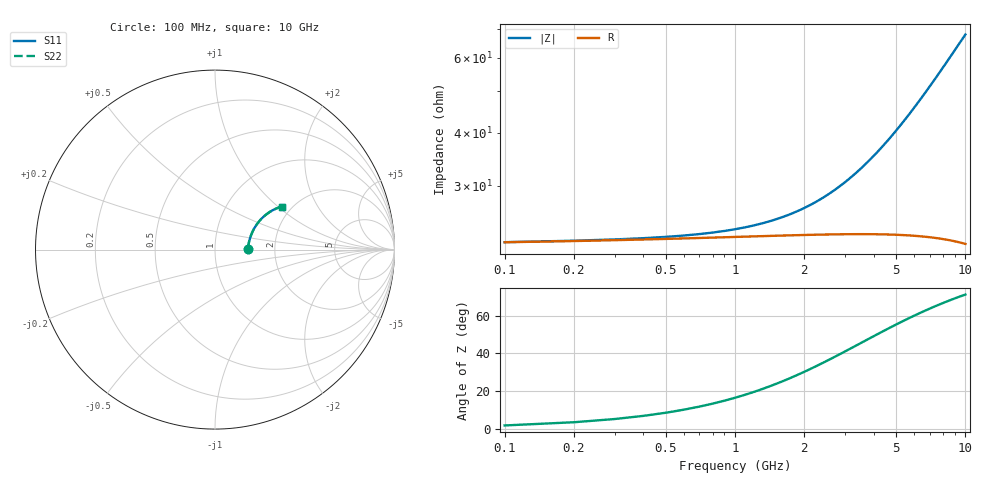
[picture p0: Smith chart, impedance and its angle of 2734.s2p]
# Hz S RI R 50.00
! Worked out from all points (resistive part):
!   100 points, 100 MHz to 10 GHz, reference 50 ohm
!   read as one part in series: R = 22.1 ohm at 100 MHz
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1e8  0.1811 0.00352  0.8189 -0.00542  0.8189 -0.00542  0.1811 0.00352
3e8  0.183 0.0105  0.817 -0.0162  0.817 -0.0162  0.183 0.0105
7e8  0.1857 0.0243  0.8142 -0.0376  0.8142 -0.0376  0.1857 0.0243
1e9  0.1878 0.0345  0.812 -0.0535  0.812 -0.0535  0.1878 0.0345
1.4e9  0.191 0.048  0.8086 -0.0747  0.8086 -0.0747  0.191 0.048
1.8e9  0.1947 0.0613  0.8047 -0.0956  0.8047 -0.0956  0.1947 0.0613
2.1e9  0.1978 0.0712  0.8013 -0.1111  0.8013 -0.1111  0.1978 0.0712
2.5e9  0.2025 0.084  0.7962 -0.1315  0.7962 -0.1315  0.2025 0.084
2.9e9  0.2078 0.0965  0.7905 -0.1517  0.7905 -0.1517  0.2078 0.0965
3.4e9  0.2152 0.1117  0.7825 -0.1764  0.7825 -0.1764  0.2152 0.1117
4.2e9  0.2289 0.1347  0.7676 -0.2147  0.7676 -0.2147  0.2289 0.1347
4.6e9  0.2365 0.1456  0.7593 -0.2332  0.7593 -0.2332  0.2365 0.1456
5.1e9  0.2467 0.1585  0.7481 -0.2556  0.7481 -0.2556  0.2467 0.1585
5.9e9  0.2644 0.1775  0.7287 -0.29  0.7287 -0.29  0.2644 0.1775
6.3e9  0.2738 0.1862  0.7183 -0.3064  0.7183 -0.3064  0.2738 0.1862
6.7e9  0.2836 0.1943  0.7074 -0.3222  0.7074 -0.3222  0.2836 0.1943
7.1e9  0.2936 0.2019  0.6963 -0.3376  0.6963 -0.3376  0.2936 0.2019
7.5e9  0.304 0.209  0.6847 -0.3523  0.6847 -0.3523  0.304 0.209
7.9e9  0.3145 0.2154  0.6729 -0.3665  0.6729 -0.3665  0.3145 0.2154
8.4e9  0.328 0.2227  0.6578 -0.3835  0.6578 -0.3835  0.328 0.2227
9.2e9  0.35 0.2325  0.6328 -0.4089  0.6328 -0.4089  0.35 0.2325
1e10  0.3724 0.24  0.6072 -0.4321  0.6072 -0.4321  0.3724 0.24
